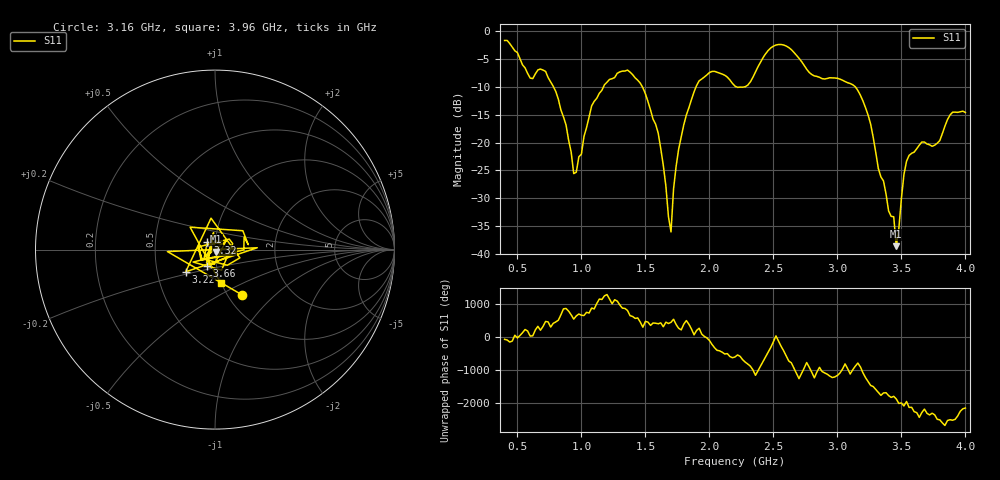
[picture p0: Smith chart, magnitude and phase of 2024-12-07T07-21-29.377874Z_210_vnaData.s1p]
!Created with skrf (http://scikit-rf.org).
# Hz S RI R 50.0
!freq ReS11 ImS11
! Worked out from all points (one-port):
!   181 points, 400 MHz to 4 GHz, reference 50 ohm
!   lowest |S11| = -38.6 dB at 3.46 GHz (marker M1), VSWR 1.02, Z = 50.4 - j1.09 ohm
!   |S11| at or under -10 dB: 781.9 MHz to 1.172 GHz (390.6 MHz wide, 40 % of centre); 1.476 GHz to 1.896 GHz (419.7 MHz wide, 24.9 % of centre); 3.141 GHz to end of sweep (the widest 3 of 4)
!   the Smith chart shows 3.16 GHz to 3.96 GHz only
!   S11 on the Smith chart (normalised r, x): 3.16 GHz: 1.16, -0.64; 3.22 GHz: 0.70, -0.18; 3.32 GHz: 0.92, +0.07; 3.66 GHz: 0.90, -0.17; 3.96 GHz: 0.99, -0.38
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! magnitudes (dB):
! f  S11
! 400 MHz  -1.7
! 600 MHz  -8.4
! 720 MHz  -7.2
! 860 MHz  -15.4
! 960 MHz  -25.3
! 1.08 GHz  -13.4
! 1.3 GHz  -7.3
! 1.46 GHz  -9.3
! 1.58 GHz  -16.7
! 1.7 GHz  -36.0
! 1.72 GHz  -28.3
! 1.76 GHz  -21.1
! 1.92 GHz  -8.9
! 2.2 GHz  -9.9
! 2.5 GHz  -2.7
! 2.66 GHz  -3.8
! 3.1 GHz  -9.4
! 3.16 GHz  -10.7
! 3.22 GHz  -13.8
! 3.32 GHz  -24.7
! 3.44 GHz  -33.3
! 3.46 GHz  -38.6
! 3.52 GHz  -25.7
! 3.56 GHz  -22.3
! 3.66 GHz  -19.9
! 3.78 GHz  -20.1
! 3.96 GHz  -14.5
! 4 GHz  -14.6
